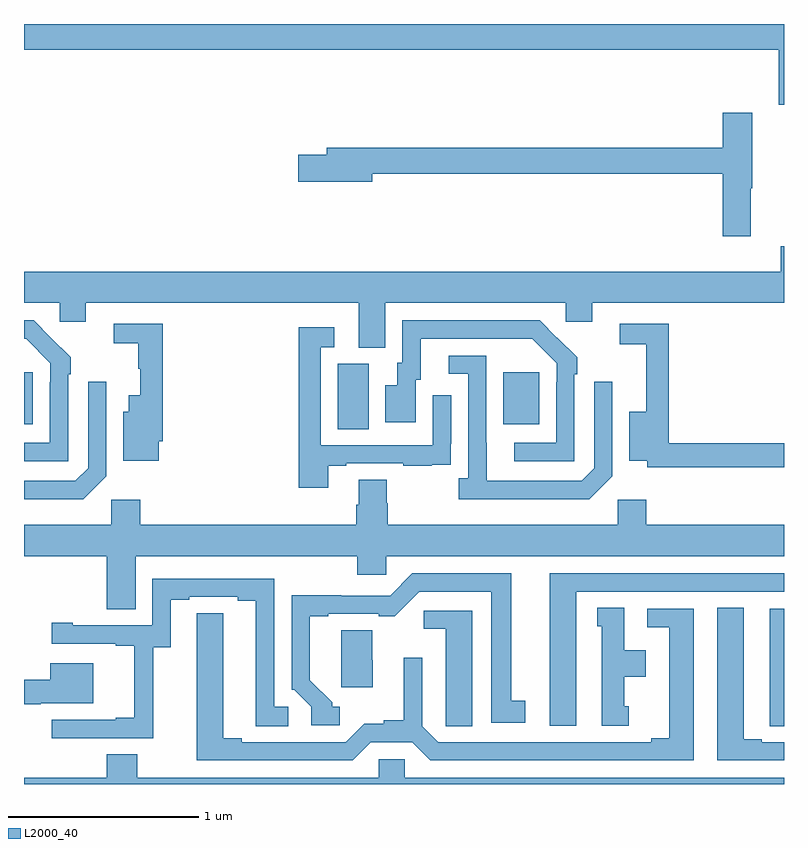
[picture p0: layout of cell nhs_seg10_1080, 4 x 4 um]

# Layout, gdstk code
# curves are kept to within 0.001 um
import gdstk
lib = gdstk.Library(unit=1e-6, precision=1e-09)
def R(c, l, rs):  # rectangles x0, y0, x1, y1
    for r in rs: c.add(gdstk.rectangle(r[:2], r[2:], *l))
def P(c, l, *ps):  # polygons
    for p in ps: c.add(gdstk.Polygon(p, *l))
L2000_40 = (2000, 40)

nhs_seg10_1080 = lib.new_cell('nhs_seg10_1080')
R(nhs_seg10_1080, L2000_40, [(168.65,1250.368,168.814,1250.712), (167,1250.393,167.047,1250.668), (169.523,1250.393,169.711,1250.668)])
P(nhs_seg10_1080, L2000_40, [(171,1252.5),(167,1252.5),(167,1252.364),(170.972,1252.364),(170.972,1252.074),(171,1252.074)],
  [(170.824,1251.635),(170.832,1251.635),(170.832,1252.033),(170.678,1252.033),(170.678,1251.848),(168.593,1251.848),(168.593,1251.812),(168.444,1251.812),(168.444,1251.67),(168.832,1251.67),(168.832,1251.712),(170.678,1251.712),(170.678,1251.384),(170.824,1251.384)],
  [(168.901,1251.032),(169.851,1251.032),(169.851,1250.934),(169.99,1250.934),(169.99,1251.032),(171,1251.032),(171,1251.33),(170.983,1251.33),(170.983,1251.196),(167,1251.196),(167,1251.032),(167.187,1251.032),(167.187,1250.934),(167.326,1250.934),(167.326,1251.032),(168.761,1251.032),(168.761,1250.797),(168.901,1250.797)],
  [(169.896,1250.657),(169.911,1250.657),(169.911,1250.745),(169.714,1250.94),(168.99,1250.94),(168.99,1250.718),(168.965,1250.718),(168.965,1250.599),(168.902,1250.599),(168.902,1250.403),(169.063,1250.403),(169.063,1250.628),(169.087,1250.628),(169.087,1250.844),(169.675,1250.844),(169.803,1250.715),(169.803,1250.615),(169.8,1250.615),(169.8,1250.295),(169.581,1250.295),(169.581,1250.199),(169.896,1250.199)],
  [(167.232,1250.657),(167.247,1250.657),(167.247,1250.745),(167.05,1250.94),(167,1250.94),(167,1250.844),(167.011,1250.844),(167.139,1250.715),(167.139,1250.615),(167.136,1250.615),(167.136,1250.295),(167,1250.295),(167,1250.199),(167.232,1250.199)],
  [(167.71,1250.305),(167.729,1250.305),(167.729,1250.922),(167.472,1250.922),(167.472,1250.821),(167.601,1250.821),(167.601,1250.685),(167.612,1250.685),(167.612,1250.545),(167.552,1250.545),(167.552,1250.458),(167.522,1250.458),(167.522,1250.201),(167.71,1250.201)],
  [(171,1250.294),(170.393,1250.294),(170.393,1250.922),(170.136,1250.922),(170.136,1250.814),(170.276,1250.814),(170.276,1250.458),(170.186,1250.458),(170.186,1250.201),(170.28,1250.201),(170.28,1250.166),(171,1250.166)],
  [(168.601,1250.175),(168.697,1250.175),(168.697,1250.187),(168.997,1250.187),(168.997,1250.175),(169.145,1250.175),(169.145,1250.181),(169.247,1250.181),(169.247,1250.29),(169.248,1250.29),(169.248,1250.545),(169.152,1250.545),(169.152,1250.283),(168.561,1250.283),(168.561,1250.799),(168.634,1250.799),(168.634,1250.905),(168.445,1250.905),(168.445,1250.058),(168.601,1250.058)],
  [(170.097,1250.121),(170.097,1250.617),(170.001,1250.617),(170.001,1250.163),(169.935,1250.097),(169.435,1250.097),(169.434,1250.754),(169.236,1250.754),(169.236,1250.658),(169.338,1250.658),(169.338,1250.11),(169.287,1250.11),(169.287,1250),(169.976,1250)],
  [(167.433,1250.121),(167.433,1250.617),(167.337,1250.617),(167.337,1250.163),(167.271,1250.097),(167,1250.097),(167,1250),(167.312,1250)],
  [(167.587,1249.7),(168.755,1249.7),(168.755,1249.602),(168.906,1249.602),(168.906,1249.7),(171,1249.7),(171,1249.864),(170.276,1249.864),(170.276,1249.996),(170.124,1249.996),(170.124,1249.864),(168.914,1249.864),(168.914,1249.977),(168.909,1249.977),(168.909,1250.102),(168.761,1250.102),(168.761,1249.97),(168.749,1249.97),(168.749,1249.864),(167.612,1249.864),(167.612,1249.996),(167.46,1249.996),(167.46,1249.864),(167,1249.864),(167,1249.7),(167.435,1249.7),(167.435,1249.42),(167.587,1249.42)],
  [(169.906,1249.512),(171,1249.512),(171,1249.608),(169.766,1249.608),(169.766,1248.807),(169.906,1248.807)],
  [(168.661,1248.906),(168.622,1248.906),(168.622,1248.93),(168.505,1249.046),(168.505,1249.383),(168.601,1249.383),(168.601,1249.395),(168.866,1249.395),(168.866,1249.384),(168.952,1249.384),(169.08,1249.512),(169.46,1249.512),(169.46,1248.822),(169.639,1248.822),(169.639,1248.938),(169.564,1248.938),(169.564,1249.608),(169.044,1249.608),(168.927,1249.491),(168.671,1249.491),(168.671,1249.493),(168.408,1249.493),(168.408,1248.996),(168.423,1248.996),(168.513,1248.906),(168.513,1248.81),(168.661,1248.81)],
  [(167.679,1249.219),(167.773,1249.219),(167.773,1249.47),(167.869,1249.47),(167.869,1249.485),(168.125,1249.485),(168.125,1249.465),(168.221,1249.465),(168.221,1248.805),(168.391,1248.805),(168.391,1248.906),(168.318,1248.906),(168.318,1249.581),(167.676,1249.581),(167.676,1249.335),(167.257,1249.335),(167.257,1249.348),(167.145,1249.348),(167.145,1249.239),(167.483,1249.239),(167.483,1249.227),(167.579,1249.227),(167.579,1248.85),(167.483,1248.85),(167.483,1248.837),(167.145,1248.837),(167.145,1248.741),(167.679,1248.741)],
  [(171,1248.72),(170.884,1248.72),(170.884,1248.735),(170.788,1248.735),(170.788,1249.427),(170.648,1249.427),(170.648,1248.624),(171,1248.624)],
  [(170.182,1248.909),(170.158,1248.909),(170.158,1249.064),(170.272,1249.064),(170.272,1249.204),(170.158,1249.204),(170.158,1249.427),(170.018,1249.427),(170.018,1249.329),(170.042,1249.329),(170.042,1248.807),(170.182,1248.807)],
  [(171,1249.423),(170.924,1249.423),(170.924,1248.913),(170.925,1248.913),(170.925,1248.805),(171,1248.805)],
  [(168.825,1248.72),(169.043,1248.72),(169.139,1248.624),(170.524,1248.624),(170.524,1249.422),(170.28,1249.422),(170.28,1249.326),(170.396,1249.326),(170.396,1248.74),(170.3,1248.74),(170.3,1248.72),(169.179,1248.72),(169.095,1248.804),(169.095,1249.165),(168.998,1249.165),(168.998,1248.836),(168.894,1248.836),(168.894,1248.818),(168.791,1248.818),(168.693,1248.72),(168.145,1248.72),(168.145,1248.74),(168.049,1248.74),(168.049,1249.4),(167.91,1249.4),(167.909,1248.624),(168.729,1248.624)],
  [(169.36,1249.413),(169.104,1249.413),(169.104,1249.316),(169.22,1249.316),(169.22,1248.913),(169.221,1248.913),(169.221,1248.805),(169.36,1248.805)],
  [(168.835,1249.152),(168.834,1249.152),(168.834,1249.31),(168.671,1249.31),(168.671,1249.008),(168.835,1249.008)],
  [(167.089,1248.926),(167.365,1248.926),(167.365,1249.135),(167.138,1249.135),(167.138,1249.048),(167,1249.048),(167,1248.919),(167.089,1248.919)],
  [(171,1248.532),(169.005,1248.532),(169.005,1248.63),(168.867,1248.63),(168.867,1248.532),(167.595,1248.532),(167.595,1248.656),(167.435,1248.656),(167.435,1248.532),(167,1248.532),(167,1248.5),(171,1248.5)])

lib.write_gds('nhs_seg10_1080.gds')
